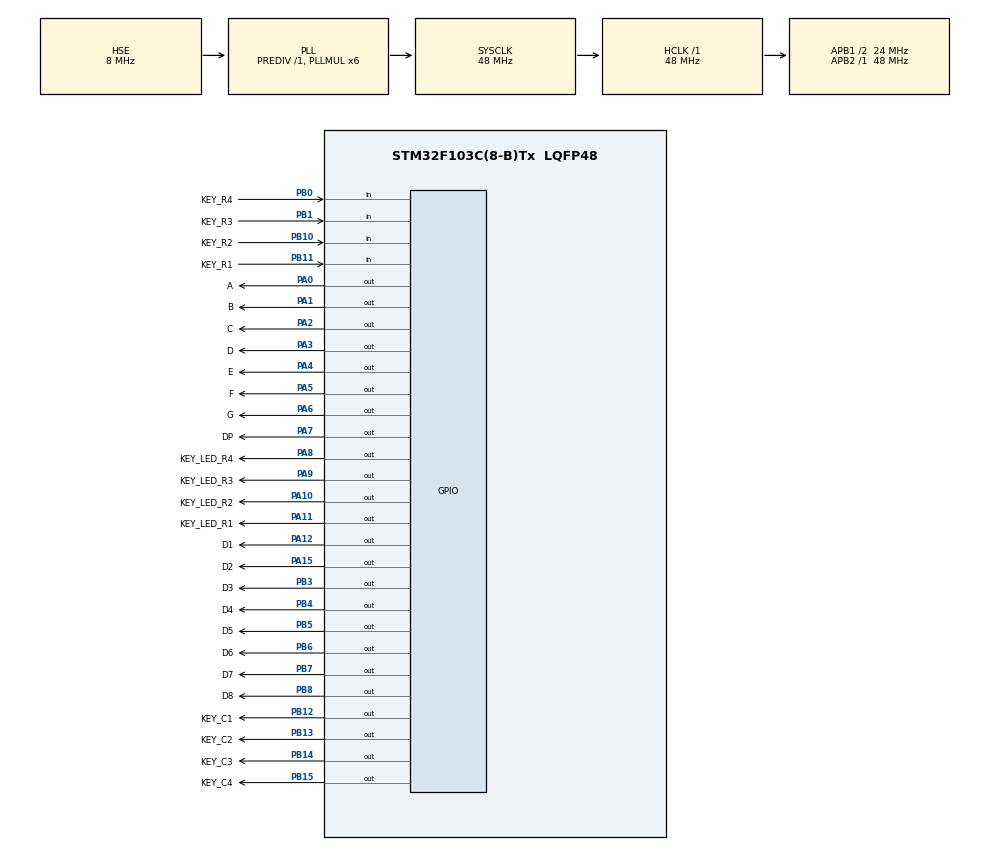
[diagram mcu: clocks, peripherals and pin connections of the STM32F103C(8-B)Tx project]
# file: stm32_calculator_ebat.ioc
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Mcu.Family=STM32F1
Mcu.Name=STM32F103C(8-B)Tx
Mcu.Package=LQFP48
NVIC.PriorityGroup=NVIC_PRIORITYGROUP_4
NVIC.TIM4_IRQn=true\:0\:0\:false\:false\:true\:true\:true\:true
PA0-WKUP.GPIO_Label=A
PA0-WKUP.Signal=GPIO_Output
PA1.GPIO_Label=B
PA1.Signal=GPIO_Output
PA10.GPIO_Label=KEY_LED_R2
PA10.Signal=GPIO_Output
PA11.GPIO_Label=KEY_LED_R1
PA11.Signal=GPIO_Output
PA12.GPIO_Label=D1
PA12.Signal=GPIO_Output
PA13.Mode=Serial_Wire
PA13.Signal=SYS_JTMS-SWDIO
PA14.Mode=Serial_Wire
PA14.Signal=SYS_JTCK-SWCLK
PA15.GPIO_Label=D2
PA15.Signal=GPIO_Output
PA2.GPIO_Label=C
PA2.Signal=GPIO_Output
PA3.GPIO_Label=D
PA3.Signal=GPIO_Output
PA4.GPIO_Label=E
PA4.Signal=GPIO_Output
PA5.GPIO_Label=F
PA5.Signal=GPIO_Output
PA6.GPIO_Label=G
PA6.Signal=GPIO_Output
PA7.GPIO_Label=DP
PA7.Signal=GPIO_Output
PA8.GPIO_Label=KEY_LED_R4
PA8.Signal=GPIO_Output
PA9.GPIO_Label=KEY_LED_R3
PA9.Signal=GPIO_Output
PB0.GPIO_Label=KEY_R4
PB0.GPIO_PuPd=GPIO_PULLUP
PB0.Signal=GPIO_Input
PB1.GPIO_Label=KEY_R3
PB1.GPIO_PuPd=GPIO_PULLUP
PB1.Signal=GPIO_Input
PB10.GPIO_Label=KEY_R2
PB10.GPIO_PuPd=GPIO_PULLUP
PB10.Signal=GPIO_Input
PB11.GPIO_Label=KEY_R1
PB11.GPIO_PuPd=GPIO_PULLUP
PB11.Signal=GPIO_Input
PB12.GPIO_Label=KEY_C1
PB12.GPIO_ModeDefaultOutputPP=GPIO_MODE_OUTPUT_OD
PB12.GPIO_PuPd=GPIO_NOPULL
PB12.PinState=GPIO_PIN_SET
PB12.Signal=GPIO_Output
PB13.GPIO_Label=KEY_C2
PB13.GPIO_ModeDefaultOutputPP=GPIO_MODE_OUTPUT_OD
PB13.GPIO_PuPd=GPIO_NOPULL
PB13.PinState=GPIO_PIN_SET
PB13.Signal=GPIO_Output
PB14.GPIO_Label=KEY_C3
PB14.GPIO_ModeDefaultOutputPP=GPIO_MODE_OUTPUT_OD
PB14.GPIO_PuPd=GPIO_NOPULL
PB14.PinState=GPIO_PIN_SET
PB14.Signal=GPIO_Output
PB15.GPIO_Label=KEY_C4
PB15.GPIO_ModeDefaultOutputPP=GPIO_MODE_OUTPUT_OD
PB15.GPIO_PuPd=GPIO_NOPULL
PB15.PinState=GPIO_PIN_SET
PB15.Signal=GPIO_Output
PB3.GPIO_Label=D3
PB3.Signal=GPIO_Output
PB4.GPIO_Label=D4
PB4.Signal=GPIO_Output
PB5.GPIO_Label=D5
PB5.Signal=GPIO_Output
PB6.GPIO_Label=D6
PB6.Signal=GPIO_Output
PB7.GPIO_Label=D7
PB7.Signal=GPIO_Output
PB8.GPIO_Label=D8
PB8.Signal=GPIO_Output
PD0-OSC_IN.Mode=HSE-External-Oscillator
PD0-OSC_IN.Signal=RCC_OSC_IN
PD1-OSC_OUT.Mode=HSE-External-Oscillator
PD1-OSC_OUT.Signal=RCC_OSC_OUT
ProjectManager.HeapSize=0x200
ProjectManager.StackSize=0x400
ProjectManager.TargetToolchain=STM32CubeIDE
RCC.AHBFreq_Value=48000000
RCC.APB1CLKDivider=RCC_HCLK_DIV2
RCC.APB1Freq_Value=24000000
RCC.APB1TimFreq_Value=48000000
RCC.APB2Freq_Value=48000000
RCC.APB2TimFreq_Value=48000000
RCC.HCLKFreq_Value=48000000
RCC.PLLMUL=RCC_PLL_MUL6
RCC.PLLSourceVirtual=RCC_PLLSOURCE_HSE
RCC.SYSCLKFreq_VALUE=48000000
RCC.SYSCLKSource=RCC_SYSCLKSOURCE_PLLCLK
RCC.USBFreq_Value=48000000
TIM4.AutoReloadPreload=TIM_AUTORELOAD_PRELOAD_ENABLE
TIM4.ClockDivision=TIM_CLOCKDIVISION_DIV4
TIM4.TIM_MasterOutputTrigger=TIM_TRGO_RESET
VP_TIM4_VS_ClockSourceINT.Mode=Internal
board=custom

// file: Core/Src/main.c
/* USER CODE BEGIN Header */
/**
  ******************************************************************************
  * @file           : main.c
  * @brief          : Main program body
  ******************************************************************************
  * @attention
  *
  * Copyright (c) 2024 STMicroelectronics.
  * All rights reserved.
  *
  * This software is licensed under terms that can be found in the LICENSE file
  * in the root directory of this software component.
  * If no LICENSE file comes with this software, it is provided AS-IS.
  *
  ******************************************************************************
  */
/* USER CODE END Header */
#include "main.h"

TIM_HandleTypeDef htim4;

void SystemClock_Config(void);
static void MX_GPIO_Init(void);
static void MX_TIM4_Init(void);

/* USER CODE BEGIN 0 */
//struct {
//	GPIO_TypeDef *GPIOx;
//	uint16_t GPIO_Pin;
//} digit[] = {
//		{D1_GPIO_Port, D1_Pin},
//		{D2_GPIO_Port, D2_Pin},
//		{D3_GPIO_Port, D3_Pin},
//		{D4_GPIO_Port, D4_Pin},
//		{D5_GPIO_Port, D5_Pin},
//		{D6_GPIO_Port, D6_Pin},
//		{D7_GPIO_Port, D7_Pin},
//		{D8_GPIO_Port, D8_Pin}
//
//};
//
//uint8_t symbol[] = {
//		0x7C,
//		0x5C,
//		0x5C,
//		0x7C,
//		0x78,
//		0x30,
//		0x78,
//		0x6D
//
//};
//
//struct {
//	uint8_t symbol, digit;
//} snake[] = {
//		{0x01, 7},
//		{0x01, 6},
//		{0x01, 5},
//		{0x01, 4},
//		{0x01, 3},
//		{0x01, 2},
//		{0x01, 1},
//		{0x01, 0},
//		{0x02, 0},
//		{0x04, 0},
//		{0x08, 0},
//		{0x08, 1},
//		{0x08, 2},
//		{0x08, 3},
//		{0x08, 4},
//		{0x08, 5},
//		{0x08, 6},
//		{0x08, 7},
//		{0x10, 7},
//		{0x20, 7}
//};

/* USER CODE END 0 */

int main(void)
{

  /* MCU Configuration--------------------------------------------------------*/

  /* Reset of all peripherals, Initializes the Flash interface and the Systick. */
  HAL_Init();

  /* Configure the system clock */
  SystemClock_Config();

  /* Initialize all configured peripherals */
  MX_GPIO_Init();
  MX_TIM4_Init();
  /* USER CODE BEGIN 2 */
  seven_segment_init();
  seven_segment_enable(0, true);
  seven_segment_set_number(0, 0);
  keyboard_init();
  calculator_init();
  /* USER CODE END 2 */

  /* Infinite loop */
  /* USER CODE BEGIN WHILE */
  while (1)
  {
	  keyboard_main();
	  calculator_main();
    /* USER CODE END WHILE */

    /* USER CODE BEGIN 3 */
//	  for(uint32_t j = 0; j < 100; j++){
//		  for(uint16_t i = 0; i < 8; i++){
//			  /* Write symbol */
//			  GPIOA->ODR &= ~(A_Pin | B_Pin | C_Pin | D_Pin | E_Pin | F_Pin | G_Pin | DP_Pin);
//			  GPIOA->ODR |= (~symbol[7 - i]) & (A_Pin | B_Pin | C_Pin | D_Pin | E_Pin | F_Pin | G_Pin | DP_Pin);
//
//			  HAL_GPIO_WritePin(digit[i].GPIOx, digit[i].GPIO_Pin, SET);
//			  HAL_Delay(1);
//			  HAL_GPIO_WritePin(digit[i].GPIOx, digit[i].GPIO_Pin, RESET);
//
//		  }
//	  }
//
//	  for(uint16_t i = 0; i < 20; i++){
//		  /* Write symbol */
//		  GPIOA->ODR &= ~(A_Pin | B_Pin | C_Pin | D_Pin | E_Pin | F_Pin | G_Pin | DP_Pin);
//		  GPIOA->ODR |= (~snake[i].symbol) & (A_Pin | B_Pin | C_Pin | D_Pin | E_Pin | F_Pin | G_Pin | DP_Pin);
//
//		  HAL_GPIO_WritePin(digit[snake[i].digit].GPIOx, digit[snake[i].digit].GPIO_Pin, SET);
//		  HAL_Delay(50);
//		  HAL_GPIO_WritePin(digit[snake[i].digit].GPIOx, digit[snake[i].digit].GPIO_Pin, RESET);
//
//	  }
  }
  /* USER CODE END 3 */
}

void SystemClock_Config(void)
{
  RCC_OscInitTypeDef RCC_OscInitStruct = {0};
  RCC_ClkInitTypeDef RCC_ClkInitStruct = {0};

  /** Initializes the RCC Oscillators according to the specified parameters
  * in the RCC_OscInitTypeDef structure.
  */
  RCC_OscInitStruct.OscillatorType = RCC_OSCILLATORTYPE_HSE;
  RCC_OscInitStruct.HSEState = RCC_HSE_ON;
  RCC_OscInitStruct.HSEPredivValue = RCC_HSE_PREDIV_DIV1;
  RCC_OscInitStruct.HSIState = RCC_HSI_ON;
  RCC_OscInitStruct.PLL.PLLState = RCC_PLL_ON;
  RCC_OscInitStruct.PLL.PLLSource = RCC_PLLSOURCE_HSE;
  RCC_OscInitStruct.PLL.PLLMUL = RCC_PLL_MUL6;
  if (HAL_RCC_OscConfig(&RCC_OscInitStruct) != HAL_OK)
  {
    Error_Handler();
  }

  /** Initializes the CPU, AHB and APB buses clocks
  */
  RCC_ClkInitStruct.ClockType = RCC_CLOCKTYPE_HCLK|RCC_CLOCKTYPE_SYSCLK
                              |RCC_CLOCKTYPE_PCLK1|RCC_CLOCKTYPE_PCLK2;
  RCC_ClkInitStruct.SYSCLKSource = RCC_SYSCLKSOURCE_PLLCLK;
  RCC_ClkInitStruct.AHBCLKDivider = RCC_SYSCLK_DIV1;
  RCC_ClkInitStruct.APB1CLKDivider = RCC_HCLK_DIV2;
  RCC_ClkInitStruct.APB2CLKDivider = RCC_HCLK_DIV1;

  if (HAL_RCC_ClockConfig(&RCC_ClkInitStruct, FLASH_LATENCY_1) != HAL_OK)
  {
    Error_Handler();
  }
}

static void MX_TIM4_Init(void)
{

  TIM_ClockConfigTypeDef sClockSourceConfig = {0};
  TIM_MasterConfigTypeDef sMasterConfig = {0};

  htim4.Instance = TIM4;
  htim4.Init.Prescaler = 0;
  htim4.Init.CounterMode = TIM_COUNTERMODE_UP;
  htim4.Init.Period = 65535;
  htim4.Init.ClockDivision = TIM_CLOCKDIVISION_DIV4;
  htim4.Init.AutoReloadPreload = TIM_AUTORELOAD_PRELOAD_ENABLE;
  if (HAL_TIM_Base_Init(&htim4) != HAL_OK)
  {
    Error_Handler();
  }
  sClockSourceConfig.ClockSource = TIM_CLOCKSOURCE_INTERNAL;
  if (HAL_TIM_ConfigClockSource(&htim4, &sClockSourceConfig) != HAL_OK)
  {
    Error_Handler();
  }
  sMasterConfig.MasterOutputTrigger = TIM_TRGO_RESET;
  sMasterConfig.MasterSlaveMode = TIM_MASTERSLAVEMODE_DISABLE;
  if (HAL_TIMEx_MasterConfigSynchronization(&htim4, &sMasterConfig) != HAL_OK)
  {
    Error_Handler();
  }
  /* USER CODE BEGIN TIM4_Init 2 */
  HAL_TIM_Base_Start_IT(&htim4);
  /* USER CODE END TIM4_Init 2 */

}

static void MX_GPIO_Init(void)
{
  GPIO_InitTypeDef GPIO_InitStruct = {0};

  /* GPIO Ports Clock Enable */
  __HAL_RCC_GPIOD_CLK_ENABLE();
  __HAL_RCC_GPIOA_CLK_ENABLE();
  __HAL_RCC_GPIOB_CLK_ENABLE();

  /*Configure GPIO pin Output Level */
  HAL_GPIO_WritePin(GPIOA, A_Pin|B_Pin|C_Pin|D_Pin
                          |E_Pin|F_Pin|G_Pin|DP_Pin
                          |KEY_LED_R4_Pin|KEY_LED_R3_Pin|KEY_LED_R2_Pin|KEY_LED_R1_Pin
                          |D1_Pin|D2_Pin, GPIO_PIN_RESET);

  /*Configure GPIO pin Output Level */
  HAL_GPIO_WritePin(GPIOB, KEY_C1_Pin|KEY_C2_Pin|KEY_C3_Pin|KEY_C4_Pin, GPIO_PIN_SET);

  /*Configure GPIO pin Output Level */
  HAL_GPIO_WritePin(GPIOB, D3_Pin|D4_Pin|D5_Pin|D6_Pin
                          |D7_Pin|D8_Pin, GPIO_PIN_RESET);

  /*Configure GPIO pins : A_Pin B_Pin C_Pin D_Pin
                           E_Pin F_Pin G_Pin DP_Pin
                           KEY_LED_R4_Pin KEY_LED_R3_Pin KEY_LED_R2_Pin KEY_LED_R1_Pin
                           D1_Pin D2_Pin */
  GPIO_InitStruct.Pin = A_Pin|B_Pin|C_Pin|D_Pin
                          |E_Pin|F_Pin|G_Pin|DP_Pin
                          |KEY_LED_R4_Pin|KEY_LED_R3_Pin|KEY_LED_R2_Pin|KEY_LED_R1_Pin
                          |D1_Pin|D2_Pin;
  GPIO_InitStruct.Mode = GPIO_MODE_OUTPUT_PP;
  GPIO_InitStruct.Pull = GPIO_NOPULL;
  GPIO_InitStruct.Speed = GPIO_SPEED_FREQ_LOW;
  HAL_GPIO_Init(GPIOA, &GPIO_InitStruct);

  /*Configure GPIO pins : KEY_R4_Pin KEY_R3_Pin KEY_R2_Pin KEY_R1_Pin */
  GPIO_InitStruct.Pin = KEY_R4_Pin|KEY_R3_Pin|KEY_R2_Pin|KEY_R1_Pin;
  GPIO_InitStruct.Mode = GPIO_MODE_INPUT;
  GPIO_InitStruct.Pull = GPIO_PULLUP;
  HAL_GPIO_Init(GPIOB, &GPIO_InitStruct);

  /*Configure GPIO pins : KEY_C1_Pin KEY_C2_Pin KEY_C3_Pin KEY_C4_Pin */
  GPIO_InitStruct.Pin = KEY_C1_Pin|KEY_C2_Pin|KEY_C3_Pin|KEY_C4_Pin;
  GPIO_InitStruct.Mode = GPIO_MODE_OUTPUT_OD;
  GPIO_InitStruct.Pull = GPIO_NOPULL;
  GPIO_InitStruct.Speed = GPIO_SPEED_FREQ_LOW;
  HAL_GPIO_Init(GPIOB, &GPIO_InitStruct);

  /*Configure GPIO pins : D3_Pin D4_Pin D5_Pin D6_Pin
                           D7_Pin D8_Pin */
  GPIO_InitStruct.Pin = D3_Pin|D4_Pin|D5_Pin|D6_Pin
                          |D7_Pin|D8_Pin;
  GPIO_InitStruct.Mode = GPIO_MODE_OUTPUT_PP;
  GPIO_InitStruct.Pull = GPIO_NOPULL;
  GPIO_InitStruct.Speed = GPIO_SPEED_FREQ_LOW;
  HAL_GPIO_Init(GPIOB, &GPIO_InitStruct);

}

/* USER CODE BEGIN 4 */
void HAL_IncTick(void){
  uwTick += uwTickFreq;

  keyboard_tick(1);
  calculator_tick(1);
}

void HAL_TIM_PeriodElapsedCallback(TIM_HandleTypeDef *htim){
	if(htim == &htim4){
		seven_segment_tick();
	}
}
/* USER CODE END 4 */

void Error_Handler(void)
{
  __disable_irq();
  while (1)
  {
  }
}
